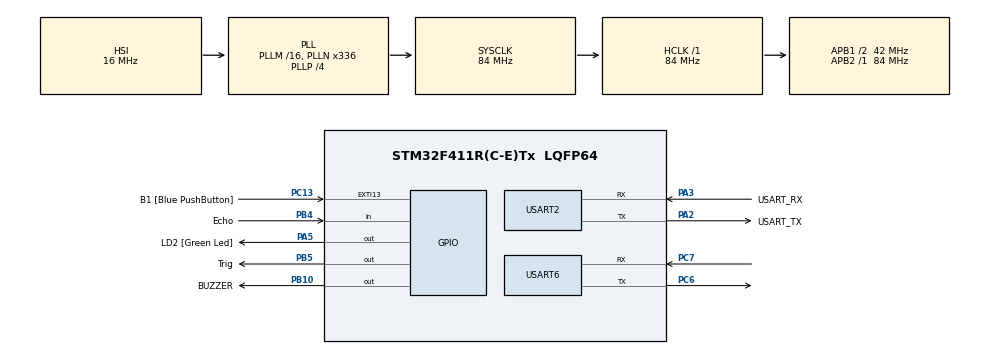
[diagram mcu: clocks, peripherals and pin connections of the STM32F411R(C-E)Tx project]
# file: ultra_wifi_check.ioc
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Mcu.Family=STM32F4
Mcu.Name=STM32F411R(C-E)Tx
Mcu.Package=LQFP64
NVIC.PriorityGroup=NVIC_PRIORITYGROUP_0
NVIC.TIM3_IRQn=true\:0\:0\:false\:false\:true\:true\:true\:true
NVIC.USART2_IRQn=true\:0\:0\:false\:false\:true\:true\:true\:true
NVIC.USART6_IRQn=true\:0\:0\:false\:false\:true\:true\:true\:true
PA13.GPIO_Label=TMS
PA13.Mode=Serial_Wire
PA13.Signal=SYS_JTMS-SWDIO
PA14.GPIO_Label=TCK
PA14.Mode=Serial_Wire
PA14.Signal=SYS_JTCK-SWCLK
PA2.GPIO_Label=USART_TX
PA2.Mode=Asynchronous
PA2.Signal=USART2_TX
PA3.GPIO_Label=USART_RX
PA3.Mode=Asynchronous
PA3.Signal=USART2_RX
PA5.GPIO_Label=LD2 [Green Led]
PA5.Signal=GPIO_Output
PB10.GPIO_Label=BUZZER
PB10.Signal=GPIO_Output
PB3.GPIO_Label=SWO
PB3.Signal=SYS_JTDO-SWO
PB4.GPIO_Label=Echo
PB4.Signal=GPIO_Input
PB5.GPIO_Label=Trig
PB5.Signal=GPIO_Output
PC13-ANTI_TAMP.GPIO_Label=B1 [Blue PushButton]
PC13-ANTI_TAMP.GPIO_ModeDefaultEXTI=GPIO_MODE_IT_FALLING
PC13-ANTI_TAMP.Signal=GPXTI13
PC14-OSC32_IN.Signal=RCC_OSC32_IN
PC15-OSC32_OUT.Signal=RCC_OSC32_OUT
PC6.Mode=Asynchronous
PC6.Signal=USART6_TX
PC7.Mode=Asynchronous
PC7.Signal=USART6_RX
PH0\ -\ OSC_IN.Mode=HSE-External-Oscillator
PH0\ -\ OSC_IN.Signal=RCC_OSC_IN
PH1\ -\ OSC_OUT.Mode=HSE-External-Oscillator
PH1\ -\ OSC_OUT.Signal=RCC_OSC_OUT
ProjectManager.HeapSize=0x200
ProjectManager.StackSize=0x400
ProjectManager.TargetToolchain=STM32CubeIDE
RCC.48MHZClocksFreq_Value=84000000
RCC.AHBFreq_Value=84000000
RCC.APB1CLKDivider=RCC_HCLK_DIV2
RCC.APB1Freq_Value=42000000
RCC.APB1TimFreq_Value=84000000
RCC.APB2Freq_Value=84000000
RCC.APB2TimFreq_Value=84000000
RCC.CortexFreq_Value=84000000
RCC.FLatency-AdvancedSettings=FLASH_LATENCY_2
RCC.HCLKFreq_Value=84000000
RCC.HSE_VALUE=8000000
RCC.HSI_VALUE=16000000
RCC.LSE_VALUE=32768
RCC.PLLN=336
RCC.PLLP=RCC_PLLP_DIV4
RCC.SYSCLKFreq_VALUE=84000000
RCC.SYSCLKSource=RCC_SYSCLKSOURCE_PLLCLK
RCC.VCOOutputFreq_Value=336000000
TIM3.AutoReloadPreload=TIM_AUTORELOAD_PRELOAD_ENABLE
TIM3.Period=1000-1
TIM3.Prescaler=84-1
TIM5.Prescaler=84-1
USART2.VirtualMode=VM_ASYNC
USART6.VirtualMode=VM_ASYNC
VP_TIM3_VS_ClockSourceINT.Mode=Internal
VP_TIM5_VS_ClockSourceINT.Mode=Internal
board=NUCLEO-F411RE

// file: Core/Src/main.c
/* USER CODE BEGIN Header */
/**
  ******************************************************************************
  * @file           : main.c
  * @brief          : Main program body
  ******************************************************************************
  * @attention
  *
  * Copyright (c) 2025 STMicroelectronics.
  * All rights reserved.
  *
  * This software is licensed under terms that can be found in the LICENSE file
  * in the root directory of this software component.
  * If no LICENSE file comes with this software, it is provided AS-IS.
  *
  ******************************************************************************
  */
/* USER CODE END Header */
#include "main.h"

/* USER CODE BEGIN Includes */
#include <stdio.h>
#include <string.h>
#include "esp.h"

/* USER CODE END Includes */

/* USER CODE BEGIN PD */
#define LIMIT 4

#ifdef __GNUC__
/* With GCC, small printf (option LD Linker->Libraries->Small printf
   set to 'Yes') calls __io_putchar() */
#define PUTCHAR_PROTOTYPE int __io_putchar(int ch)
#else
#define PUTCHAR_PROTOTYPE int fputc(int ch, FILE *f)
#endif /* __GNUC__ */
#define ARR_CNT 5
#define CMD_SIZE 50
/* USER CODE END PD */

TIM_HandleTypeDef htim3;
TIM_HandleTypeDef htim5;

UART_HandleTypeDef huart2;
UART_HandleTypeDef huart6;

/* USER CODE BEGIN PV */
uint8_t rx2char;
extern cb_data_t cb_data;
extern volatile unsigned char rx2Flag;
extern volatile char rx2Data[50];
volatile int tim3Flag1Sec=1;
volatile unsigned int tim3Sec;
double dist;
int warningSent = 0;
int LimitFlag = 0;
int cnt = 0;
volatile int NowCheck = 0;
/* USER CODE END PV */

void SystemClock_Config(void);
static void MX_GPIO_Init(void);
static void MX_USART2_UART_Init(void);
static void MX_TIM5_Init(void);
static void MX_TIM3_Init(void);
static void MX_USART6_UART_Init(void);
/* USER CODE BEGIN PFP */
char strBuff[MAX_ESP_COMMAND_LEN];
void esp_event(char *);

/* USER CODE END PFP */

/* USER CODE BEGIN 0 */
void microDelay(int us)
{
	int t1 = htim5.Instance->CNT;
	while((htim5.Instance->CNT - t1) < us);
}

void signalTrig()//초음파 Trig
{
	 HAL_GPIO_WritePin(Trig_GPIO_Port, Trig_Pin,1);
	 microDelay(10);
	 HAL_GPIO_WritePin(Trig_GPIO_Port, Trig_Pin,0);

}
double getDist() //초음파측정 함수
{
	signalTrig();
	uint32_t timeout = 100000;
	while (!HAL_GPIO_ReadPin(Echo_GPIO_Port, Echo_Pin) && timeout--);
	if (timeout == 0) {
		printf("Echo rising edge timeout!\r\n");
		return -1;
	}
	int t1 = htim5.Instance->CNT;

	timeout = 100000;
	while (HAL_GPIO_ReadPin(Echo_GPIO_Port, Echo_Pin) && timeout--);

	if (timeout == 0) {
		printf("Echo falling edge timeout!\r\n");
		return -1;
	}
	int t2 = htim5.Instance->CNT;

	double dist = (t2 - t1) * 0.017; // 초음파 속도: 340 m/s -> 0.017 cm/us
	microDelay(60000); // 최소 60ms 간격 필요
	printf("Distance: %.2f cm\r\n", dist);
	return dist;

}
/* USER CODE END 0 */

int main(void)
{

  /* USER CODE BEGIN 1 */
	int ret = 0;
  /* USER CODE END 1 */

  /* MCU Configuration--------------------------------------------------------*/

  /* Reset of all peripherals, Initializes the Flash interface and the Systick. */
  HAL_Init();

  /* Configure the system clock */
  SystemClock_Config();

  /* Initialize all configured peripherals */
  MX_GPIO_Init();
  MX_USART2_UART_Init();
  MX_TIM5_Init();
  MX_TIM3_Init();
  MX_USART6_UART_Init();
  /* USER CODE BEGIN 2 */
  HAL_TIM_Base_Start(&htim5);
  printf("Start main() - ultra-wifi\r\n");
  ret |= drv_uart_init();
  ret |= drv_esp_init();
  if(ret != 0)
  {
	  printf("Esp response error\r\n");
	  Error_Handler();
  }

  AiotClient_Init();
  if(HAL_TIM_Base_Start_IT(&htim3) != HAL_OK)
  {
	  Error_Handler();
  }
  /* USER CODE END 2 */

  /* Infinite loop */
  /* USER CODE BEGIN WHILE */
	while (1) {
		if (strstr((char*) cb_data.buf, "+IPD")
				&& cb_data.buf[cb_data.length - 1] == '\n') {
			//?  ?  ?   ??  \r\n+IPD,15:[KSH_LIN]HELLO\n
			strcpy(strBuff, strchr((char*) cb_data.buf, '['));
			memset(cb_data.buf, 0x0, sizeof(cb_data.buf));
			cb_data.length = 0;
			esp_event(strBuff);
		}
		if (rx2Flag) {
			printf("recv2 : %s\r\n", rx2Data);
			rx2Flag = 0;
		}

		if (tim3Flag1Sec)   //1초에 한번
		{
			tim3Flag1Sec = 0;

			if (!(tim3Sec % 10)) //10초에 한번
			{
				if (esp_get_status() != 0) {
					printf("server connecting ...\r\n");
					esp_client_conn();
				}
			}
			if (LimitFlag) {
				double dist = getDist();
				if (dist <= LIMIT) {
					if (!warningSent) {
						char sendBuf[50];
						sprintf(sendBuf, "[%s]WARNING\n", "SQL");
						esp_send_data(sendBuf);
						warningSent = 1;
					}
						cnt += 1;
						//printf("cnt : %d\r\n", cnt);
						printf("WARNING\r\n");
						if (!(tim3Sec % 1)) { //2초간 토글
							HAL_GPIO_TogglePin(BUZZER_GPIO_Port, BUZZER_Pin);
						}

						if (cnt >= 10) {
							HAL_GPIO_WritePin(BUZZER_GPIO_Port, BUZZER_Pin,
									GPIO_PIN_RESET);
							LimitFlag = 0;  // 입실 상태 종료
						}
					} else {
						cnt = 0;
						HAL_GPIO_WritePin(BUZZER_GPIO_Port, BUZZER_Pin,
								GPIO_PIN_RESET);
						if (!LimitFlag) {
							break;
						}
					}
				}
			 else if (dist < 0) {
				printf("거리 측정 실패\r\n");
				continue;
			}
		}
//#define BUZZER_Pin GPIO_PIN_10
//#define BUZZER_GPIO_Port GPIOB

    /* USER CODE END WHILE */

  }
}

void SystemClock_Config(void)
{
  RCC_OscInitTypeDef RCC_OscInitStruct = {0};
  RCC_ClkInitTypeDef RCC_ClkInitStruct = {0};

  /** Configure the main internal regulator output voltage
  */
  __HAL_RCC_PWR_CLK_ENABLE();
  __HAL_PWR_VOLTAGESCALING_CONFIG(PWR_REGULATOR_VOLTAGE_SCALE1);

  /** Initializes the RCC Oscillators according to the specified parameters
  * in the RCC_OscInitTypeDef structure.
  */
  RCC_OscInitStruct.OscillatorType = RCC_OSCILLATORTYPE_HSI;
  RCC_OscInitStruct.HSIState = RCC_HSI_ON;
  RCC_OscInitStruct.HSICalibrationValue = RCC_HSICALIBRATION_DEFAULT;
  RCC_OscInitStruct.PLL.PLLState = RCC_PLL_ON;
  RCC_OscInitStruct.PLL.PLLSource = RCC_PLLSOURCE_HSI;
  RCC_OscInitStruct.PLL.PLLM = 16;
  RCC_OscInitStruct.PLL.PLLN = 336;
  RCC_OscInitStruct.PLL.PLLP = RCC_PLLP_DIV4;
  RCC_OscInitStruct.PLL.PLLQ = 4;
  if (HAL_RCC_OscConfig(&RCC_OscInitStruct) != HAL_OK)
  {
    Error_Handler();
  }

  /** Initializes the CPU, AHB and APB buses clocks
  */
  RCC_ClkInitStruct.ClockType = RCC_CLOCKTYPE_HCLK|RCC_CLOCKTYPE_SYSCLK
                              |RCC_CLOCKTYPE_PCLK1|RCC_CLOCKTYPE_PCLK2;
  RCC_ClkInitStruct.SYSCLKSource = RCC_SYSCLKSOURCE_PLLCLK;
  RCC_ClkInitStruct.AHBCLKDivider = RCC_SYSCLK_DIV1;
  RCC_ClkInitStruct.APB1CLKDivider = RCC_HCLK_DIV2;
  RCC_ClkInitStruct.APB2CLKDivider = RCC_HCLK_DIV1;

  if (HAL_RCC_ClockConfig(&RCC_ClkInitStruct, FLASH_LATENCY_2) != HAL_OK)
  {
    Error_Handler();
  }
}

static void MX_TIM3_Init(void)
{

  TIM_ClockConfigTypeDef sClockSourceConfig = {0};
  TIM_MasterConfigTypeDef sMasterConfig = {0};

  htim3.Instance = TIM3;
  htim3.Init.Prescaler = 84-1;
  htim3.Init.CounterMode = TIM_COUNTERMODE_UP;
  htim3.Init.Period = 1000-1;
  htim3.Init.ClockDivision = TIM_CLOCKDIVISION_DIV1;
  htim3.Init.AutoReloadPreload = TIM_AUTORELOAD_PRELOAD_ENABLE;
  if (HAL_TIM_Base_Init(&htim3) != HAL_OK)
  {
    Error_Handler();
  }
  sClockSourceConfig.ClockSource = TIM_CLOCKSOURCE_INTERNAL;
  if (HAL_TIM_ConfigClockSource(&htim3, &sClockSourceConfig) != HAL_OK)
  {
    Error_Handler();
  }
  sMasterConfig.MasterOutputTrigger = TIM_TRGO_RESET;
  sMasterConfig.MasterSlaveMode = TIM_MASTERSLAVEMODE_DISABLE;
  if (HAL_TIMEx_MasterConfigSynchronization(&htim3, &sMasterConfig) != HAL_OK)
  {
    Error_Handler();
  }

}

static void MX_TIM5_Init(void)
{

  TIM_ClockConfigTypeDef sClockSourceConfig = {0};
  TIM_MasterConfigTypeDef sMasterConfig = {0};

  htim5.Instance = TIM5;
  htim5.Init.Prescaler = 84-1;
  htim5.Init.CounterMode = TIM_COUNTERMODE_UP;
  htim5.Init.Period = 4294967295;
  htim5.Init.ClockDivision = TIM_CLOCKDIVISION_DIV1;
  htim5.Init.AutoReloadPreload = TIM_AUTORELOAD_PRELOAD_DISABLE;
  if (HAL_TIM_Base_Init(&htim5) != HAL_OK)
  {
    Error_Handler();
  }
  sClockSourceConfig.ClockSource = TIM_CLOCKSOURCE_INTERNAL;
  if (HAL_TIM_ConfigClockSource(&htim5, &sClockSourceConfig) != HAL_OK)
  {
    Error_Handler();
  }
  sMasterConfig.MasterOutputTrigger = TIM_TRGO_RESET;
  sMasterConfig.MasterSlaveMode = TIM_MASTERSLAVEMODE_DISABLE;
  if (HAL_TIMEx_MasterConfigSynchronization(&htim5, &sMasterConfig) != HAL_OK)
  {
    Error_Handler();
  }

}

static void MX_USART2_UART_Init(void)
{

  huart2.Instance = USART2;
  huart2.Init.BaudRate = 115200;
  huart2.Init.WordLength = UART_WORDLENGTH_8B;
  huart2.Init.StopBits = UART_STOPBITS_1;
  huart2.Init.Parity = UART_PARITY_NONE;
  huart2.Init.Mode = UART_MODE_TX_RX;
  huart2.Init.HwFlowCtl = UART_HWCONTROL_NONE;
  huart2.Init.OverSampling = UART_OVERSAMPLING_16;
  if (HAL_UART_Init(&huart2) != HAL_OK)
  {
    Error_Handler();
  }

}

static void MX_USART6_UART_Init(void)
{

  huart6.Instance = USART6;
  huart6.Init.BaudRate = 38400;
  huart6.Init.WordLength = UART_WORDLENGTH_8B;
  huart6.Init.StopBits = UART_STOPBITS_1;
  huart6.Init.Parity = UART_PARITY_NONE;
  huart6.Init.Mode = UART_MODE_TX_RX;
  huart6.Init.HwFlowCtl = UART_HWCONTROL_NONE;
  huart6.Init.OverSampling = UART_OVERSAMPLING_16;
  if (HAL_UART_Init(&huart6) != HAL_OK)
  {
    Error_Handler();
  }

}

static void MX_GPIO_Init(void)
{
  GPIO_InitTypeDef GPIO_InitStruct = {0};

  /* GPIO Ports Clock Enable */
  __HAL_RCC_GPIOC_CLK_ENABLE();
  __HAL_RCC_GPIOH_CLK_ENABLE();
  __HAL_RCC_GPIOA_CLK_ENABLE();
  __HAL_RCC_GPIOB_CLK_ENABLE();

  /*Configure GPIO pin Output Level */
  HAL_GPIO_WritePin(LD2_GPIO_Port, LD2_Pin, GPIO_PIN_RESET);

  /*Configure GPIO pin Output Level */
  HAL_GPIO_WritePin(GPIOB, BUZZER_Pin|Trig_Pin, GPIO_PIN_RESET);

  /*Configure GPIO pin : B1_Pin */
  GPIO_InitStruct.Pin = B1_Pin;
  GPIO_InitStruct.Mode = GPIO_MODE_IT_FALLING;
  GPIO_InitStruct.Pull = GPIO_NOPULL;
  HAL_GPIO_Init(B1_GPIO_Port, &GPIO_InitStruct);

  /*Configure GPIO pin : LD2_Pin */
  GPIO_InitStruct.Pin = LD2_Pin;
  GPIO_InitStruct.Mode = GPIO_MODE_OUTPUT_PP;
  GPIO_InitStruct.Pull = GPIO_NOPULL;
  GPIO_InitStruct.Speed = GPIO_SPEED_FREQ_LOW;
  HAL_GPIO_Init(LD2_GPIO_Port, &GPIO_InitStruct);

  /*Configure GPIO pins : BUZZER_Pin Trig_Pin */
  GPIO_InitStruct.Pin = BUZZER_Pin|Trig_Pin;
  GPIO_InitStruct.Mode = GPIO_MODE_OUTPUT_PP;
  GPIO_InitStruct.Pull = GPIO_NOPULL;
  GPIO_InitStruct.Speed = GPIO_SPEED_FREQ_LOW;
  HAL_GPIO_Init(GPIOB, &GPIO_InitStruct);

  /*Configure GPIO pin : Echo_Pin */
  GPIO_InitStruct.Pin = Echo_Pin;
  GPIO_InitStruct.Mode = GPIO_MODE_INPUT;
  GPIO_InitStruct.Pull = GPIO_NOPULL;
  HAL_GPIO_Init(Echo_GPIO_Port, &GPIO_InitStruct);

}

/* USER CODE BEGIN 4 */
void esp_event(char * recvBuf)
{
  int i=0;
  char * pToken;
  char * pArray[ARR_CNT]={0};
  char sendBuf[MAX_UART_COMMAND_LEN]={0};

  strBuff[strlen(recvBuf)-1] = '\0';	//'\n' cut
  printf("\r\nDebug recv : %s\r\n",recvBuf);

  pToken = strtok(recvBuf,"[@]");
  while(pToken != NULL)
  {
    pArray[i] = pToken;
    if(++i >= ARR_CNT)
      break;
    pToken = strtok(NULL,"[@]");
  }
	if (!strcmp(pArray[1], "AUTHER")) //인증모듈로부터 인증 수신
	{
		NowCheck = !NowCheck;
		printf("%d\r\n",NowCheck);
		if (NowCheck == 1) //입실
				{
			sprintf(sendBuf, "[%s]%s@%d\n", "SQL", "CHECK", NowCheck);
			esp_send_data(sendBuf);
			LimitFlag = 1; //초음파ON
			cnt = 0;
			warningSent = 0;
		} else if (NowCheck == 0) //퇴실
				{
			sprintf(sendBuf, "[%s]%s@%d\n", "SQL", "CHECK", NowCheck);
			esp_send_data(sendBuf);
			LimitFlag = 0; //초음파OFF
			HAL_GPIO_WritePin(BUZZER_GPIO_Port, BUZZER_Pin, GPIO_PIN_RESET); //부저OFF

		}
		//sprintf(sendBuf, "[%s]%s@%s\n","SQL", pArray[1], pArray[2]);
		//esp_send_data(sendBuf);
	}
  else if(!strncmp(pArray[1]," New conn",8))
  {
//	   printf("Debug : %s, %s\r\n",pArray[0],pArray[1]);
     return;
  }
  else if(!strncmp(pArray[1]," Already log",8))
  {
// 	    printf("Debug : %s, %s\r\n",pArray[0],pArray[1]);
	  esp_client_conn();
      return;
  }
  else
      return;
}

void HAL_TIM_PeriodElapsedCallback(TIM_HandleTypeDef *htim)		//1ms 마다 호출
{
	static int tim3Cnt = 0;
	if (htim->Instance == TIM3) {
		tim3Cnt++; //1ms
		if (tim3Cnt >= 1000) //1ms * 1000 = 1Sec
				{
			tim3Flag1Sec = 1; //1sec
			tim3Sec++;
			tim3Cnt = 0;
		}
	}
}

/* USER CODE END 4 */

void Error_Handler(void)
{
  __disable_irq();
  while (1)
  {
  }
}
